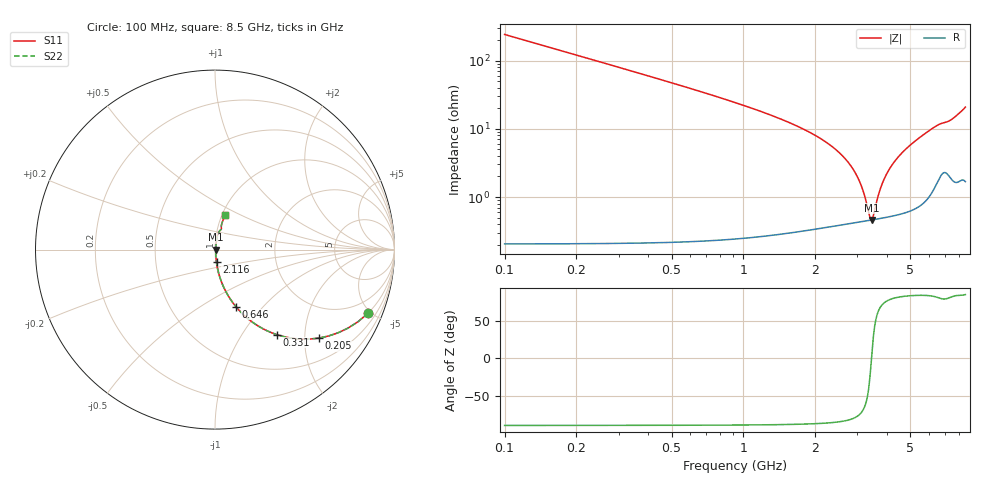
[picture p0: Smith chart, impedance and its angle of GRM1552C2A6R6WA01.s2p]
!Murata Part Number: GRM1552C2A6R6WA01
!These Parameters are Measured in Series Mode Connection
!Data Generated on Mar 30, 2021
!  o--ll--o
!Port1  Port2
!  o------o
!Operation Temp=25[degC], DC Bias Voltage=0[V]
!Freq. Start=100[MHz] Stop=9[GHz] 401[Steps]
# Hz S RI R 50
!Freq.(Hz) S11(Real) S11(Imag) S21(Real) S21(Imag) S12(Real) S12(Imag) S22(Real) S22(Imag)
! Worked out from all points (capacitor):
!   401 points, 100 MHz to 8.5 GHz, reference 50 ohm
!   read as one part in series: C = 6.6 pF near 142 MHz
!   lowest |Z| = 461 mohm at 3.439 GHz (marker M1)
!   series resonance near 3.437 GHz, so ESL is about 320 pH
!   S11 on the Smith chart (normalised r, x): 100 MHz: 1.00, -4.82; 205 MHz: 1.00, -2.34; 331 MHz: 1.00, -1.44; 646 MHz: 1.00, -0.72; 2.116 GHz: 1.01, -0.14; 8.5 GHz: 1.03, +0.41
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1e8  0.8528 -0.3538  0.1472 0.3538  0.1472 0.3538  0.8528 -0.3538
2.05e8  0.5786 -0.4929  0.4214 0.4929  0.4214 0.4929  0.5786 -0.4929
3.31e8  0.3429 -0.4732  0.6571 0.4732  0.6571 0.4732  0.3429 -0.4732
4.57e8  0.2127 -0.4072  0.7873 0.4072  0.7873 0.4072  0.2127 -0.4072
6.46e8  0.1163 -0.3174  0.8837 0.3174  0.8837 0.3174  0.1163 -0.3174
1.003e9  0.0483 -0.2087  0.9517 0.2087  0.9517 0.2087  0.0483 -0.2087
1.507e9  0.0192 -0.1264  0.9808 0.1264  0.9808 0.1264  0.0192 -0.1264
2.116e9  0.00843 -0.0701  0.9916 0.0701  0.9916 0.0701  0.00843 -0.0701
2.578e9  0.00555 -0.0408  0.9944 0.0408  0.9944 0.0408  0.00555 -0.0408
2.914e9  0.00471 -0.0233  0.9953 0.0233  0.9953 0.0233  0.00471 -0.0233
3.124e9  0.00452 -0.0135  0.9955 0.0135  0.9955 0.0135  0.00452 -0.0135
3.376e9  0.00454 -0.00255  0.9955 0.00255  0.9955 0.00255  0.00454 -0.00255
3.439e9  0.00459 6.42e-05  0.9954 -6.42e-05  0.9954 -6.42e-05  0.00459 6.42e-05
3.502e9  0.00464 0.00264  0.9954 -0.00264  0.9954 -0.00264  0.00464 0.00264
3.691e9  0.00489 0.0101  0.9951 -0.0101  0.9951 -0.0101  0.00489 0.0101
3.838e9  0.00516 0.0158  0.9948 -0.0158  0.9948 -0.0158  0.00516 0.0158
4.3e9  0.00638 0.0326  0.9936 -0.0326  0.9936 -0.0326  0.00638 0.0326
4.888e9  0.00884 0.0529  0.9912 -0.0529  0.9912 -0.0529  0.00884 0.0529
5.707e9  0.0148 0.0808  0.9852 -0.0808  0.9852 -0.0808  0.0148 0.0808
6.484e9  0.0277 0.1064  0.9723 -0.1064  0.9723 -0.1064  0.0277 0.1064
7.114e9  0.0358 0.1172  0.9642 -0.1172  0.9642 -0.1172  0.0358 0.1172
8.5e9  0.0557 0.1925  0.9443 -0.1925  0.9443 -0.1925  0.0557 0.1925
